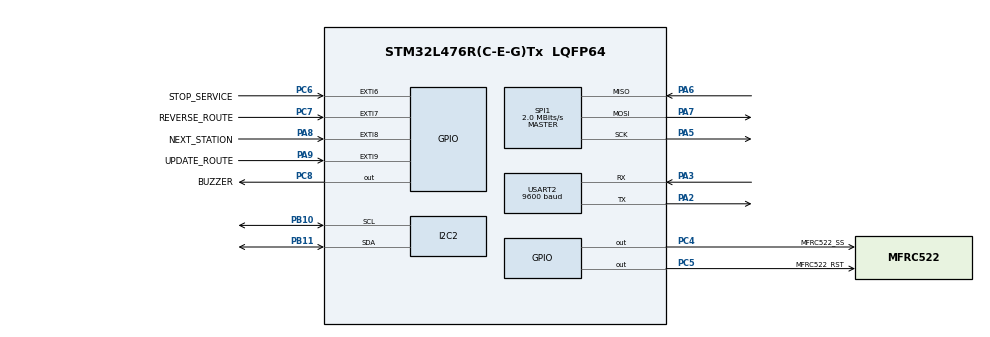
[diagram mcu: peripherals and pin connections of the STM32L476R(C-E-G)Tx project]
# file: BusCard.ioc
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Mcu.Family=STM32L4
Mcu.Name=STM32L476R(C-E-G)Tx
Mcu.Package=LQFP64
NVIC.EXTI9_5_IRQn=true\:1\:0\:true\:false\:true\:true\:true
NVIC.PriorityGroup=NVIC_PRIORITYGROUP_4
NVIC.TIM2_IRQn=true\:0\:0\:false\:false\:true\:true\:true
NVIC.USART2_IRQn=true\:0\:0\:false\:false\:true\:true\:true
PA2.Mode=Asynchronous
PA2.Signal=USART2_TX
PA3.Mode=Asynchronous
PA3.Signal=USART2_RX
PA5.Mode=Full_Duplex_Master
PA5.Signal=SPI1_SCK
PA6.Mode=Full_Duplex_Master
PA6.Signal=SPI1_MISO
PA7.Mode=Full_Duplex_Master
PA7.Signal=SPI1_MOSI
PA8.GPIO_Label=NEXT_STATION
PA8.Signal=GPXTI8
PA9.GPIO_Label=UPDATE_ROUTE
PA9.Signal=GPXTI9
PB10.Mode=I2C
PB10.Signal=I2C2_SCL
PB11.Mode=I2C
PB11.Signal=I2C2_SDA
PC4.GPIO_Label=MFRC522_SS
PC4.Signal=GPIO_Output
PC5.GPIO_Label=MFRC522_RST
PC5.Signal=GPIO_Output
PC6.GPIO_Label=STOP_SERVICE
PC6.Signal=GPXTI6
PC7.GPIO_Label=REVERSE_ROUTE
PC7.Signal=GPXTI7
PC8.GPIO_Label=BUZZER
PC8.Signal=GPIO_Output
ProjectManager.HeapSize=0x200
ProjectManager.StackSize=0x400
ProjectManager.TargetToolchain=MDK-ARM V5.27
RCC.HSE_VALUE=8000000
RCC.HSI_VALUE=16000000
RCC.LSE_VALUE=32768
RCC.MSI_VALUE=4000000
RCC.VCOOutputFreq_Value=32000000
SPI1.CalculateBaudRate=2.0 MBits/s
SPI1.DataSize=SPI_DATASIZE_8BIT
SPI1.Direction=SPI_DIRECTION_2LINES
SPI1.Mode=SPI_MODE_MASTER
SPI1.VirtualType=VM_MASTER
TIM2.Period=99
TIM2.Prescaler=3999
TIM7.Prescaler=3
USART2.BaudRate=9600
USART2.VirtualMode-Asynchronous=VM_ASYNC
VP_TIM2_VS_ClockSourceINT.Mode=Internal
VP_TIM7_VS_ClockSourceINT.Mode=Enable_Timer
board=custom

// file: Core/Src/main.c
/* USER CODE BEGIN Header */
/**
  ******************************************************************************
  * @file           : main.c
  * @brief          : Main program body
  ******************************************************************************
  * @attention
  *
  * <h2><center>&copy; Copyright (c) 2021 STMicroelectronics.
  * All rights reserved.</center></h2>
  *
  * This software component is licensed by ST under BSD 3-Clause license,
  * the "License"; You may not use this file except in compliance with the
  * License. You may obtain a copy of the License at:
  *                        opensource.org/licenses/BSD-3-Clause
  *
  ******************************************************************************
  */
/* USER CODE END Header */
#include "main.h"

/* USER CODE BEGIN Includes */
#include <stdio.h>
#include <string.h>
#include <limits.h>
#include <stdlib.h>
#include "MFRC522.h"
#include "LCD1602I2C.h"
/* USER CODE END Includes */

/* USER CODE BEGIN PTD */
#define STATION_SIZE 16
#define ROUTE_NAME_SIZE 15
#define NAME_SIZE       16
#define BLOCK_SIZE      16

// fare type
#define REGULAR 0x00
#define HALF    0x01
#define OTHER   0x02

// direction symbol in card
#define CLEAR     0x00
#define DEPARTURE '>'
#define RETURN    '<'

typedef enum{
  GETON,
  GETOFF,
  RWERROR,      //read/write PICC error
  INSUFFICIENT, //not enough money to get on
  ROUTEERROR,   //route of PICC does not conform to routeo f PCD
  WAITINITIAL,  //start initialize route
  WAITUPDATE,   //wait update route
  STOPSERVICE,  //stop PCD
  ROUTESTATION
} PrintCode;

typedef struct{   // default store in sector1
  uint8_t name[NAME_SIZE];                  // block 0 [0:15]  card user name consists of 15 character at most
  int money;                                // block 1 [0:3]   remains in PICC
  int get_on_station;                       // block 1 [5:8]   get_on_station number if -1 then did not get on
  uint8_t type;                             // block 1 [4]     regular or half fare, 0x00 regular, 0x01 half
  uint8_t padding[7];                       // block 1 [9:15]  reserved
  uint8_t direction;                        // block 2 [0]     get on departure('>') or return('>'), get off = 0x00
  uint8_t route_name[ROUTE_NAME_SIZE];      // block 2 [1:15]  route name consists of 14 character at most
} Passenger;
/* USER CODE END PTD */

I2C_HandleTypeDef hi2c2;

SPI_HandleTypeDef hspi1;

TIM_HandleTypeDef htim2;
TIM_HandleTypeDef htim7;

UART_HandleTypeDef huart2;

/* USER CODE BEGIN PV */
int *fare;              // fare[x][y] is station x -> station y fare
int *half_fare;         // half_fare[x][y] is station x -> station y half fare
int base_fare;
int base_half_fare;

uint8_t route_name[ROUTE_NAME_SIZE];    // route name consists of 9 character at most
uint8_t *route;         // each station on route uint8_t[16]
int station_n;          // how many stations on route

int now_station;        // bus now station
uint8_t direction;    // departure or return
StatusCode status;
int fare_money;         // passenger's fare

uint8_t empty_array[16] = {'\0'};
uint8_t s[50];
uint32_t n;

volatile bool update_flag;
volatile bool next_flag;
volatile bool reverse_flag;
volatile bool stop_flag;
volatile bool debounce_wait_flag;

/* USER CODE END PV */

void SystemClock_Config(void);
static void MX_GPIO_Init(void);
static void MX_SPI1_Init(void);
static void MX_USART2_UART_Init(void);
static void MX_TIM7_Init(void);
static void MX_TIM2_Init(void);
static void MX_I2C2_Init(void);
/* USER CODE BEGIN PFP */
void Delay_Us(uint16_t wait);
bool Read_Passenger(Passenger *pas, int sector);
bool Write_Passenger(Passenger *pas, int sector);
void Update_Route(void);
void Center_Align_String(char *str, int w); // center align str in w width, result is stored in global value s
void Print_Message(PrintCode code, Passenger *pas);
void Print_Passenger(Passenger *pas);
/* USER CODE END PFP */

int main(void)
{

  /* MCU Configuration--------------------------------------------------------*/

  /* Reset of all peripherals, Initializes the Flash interface and the Systick. */
  HAL_Init();

  /* Configure the system clock */
  SystemClock_Config();

  /* Initialize all configured peripherals */
  MX_GPIO_Init();
  MX_SPI1_Init();
  MX_USART2_UART_Init();
  MX_TIM7_Init();
  MX_TIM2_Init();
  MX_I2C2_Init();
  /* USER CODE BEGIN 2 */
  int store_sector = 1;
  int base_money; //how much get on money at least
  Passenger passenger;

  LCD1602I2C_Init();
	LCD1602I2C_Clear();
  PCD_Init();
  PCD_DumpVersionToSerial();

  MIFARE_Key key;
  for(int i=0;i<16;i++){
    key.keyByte[i] = 0xFF;
  }
  /* USER CODE END 2 */

  /* Infinite loop */
  /* USER CODE BEGIN WHILE */
  Print_Message(WAITINITIAL, &passenger);
  Update_Route();   //initialize route data
  stop_flag = false;
  update_flag = false;
  next_flag = false;
  reverse_flag = false;

  while (1)
  {
    if(stop_flag){
      Print_Message(STOPSERVICE, &passenger);
      while(stop_flag){
        update_flag = false;
        next_flag = false;
        reverse_flag = false;
      }
      stop_flag = false;
    }

    if(update_flag){
      update_flag = false;
      Print_Message(WAITUPDATE, &passenger);
      Update_Route();
    }
    if(next_flag){
      next_flag = false;
      if(direction == DEPARTURE){
        if(now_station+1 < station_n)
          now_station ++;
      }else if(direction == RETURN){
        if(0 <= now_station-1)
          now_station --;
      }
    }
    if(reverse_flag){
      reverse_flag = false;
      if(direction == DEPARTURE){
        direction = RETURN;
        now_station = station_n - 1;
      }else if (direction == RETURN){
        direction = DEPARTURE;
        now_station = 0;
      }
    }

    if (PICC_IsNewCardPresent()&&PICC_ReadCardSerial()) {
      HAL_GPIO_WritePin(BUZZER_GPIO_Port, BUZZER_Pin, GPIO_PIN_SET);
      HAL_Delay(200);
      HAL_GPIO_WritePin(BUZZER_GPIO_Port, BUZZER_Pin, GPIO_PIN_RESET);

      status = PCD_Authenticate(PICC_CMD_MF_AUTH_KEY_A, store_sector * 4, &key, &uid); // authenticate sector 1
      if (status != STATUS_OK) {
        GetStatusCodeName(status, s, &n);
        printf("PCD_Authenticate() failed: %s\r\n", s);
      }

      if(Read_Passenger(&passenger, store_sector)){
        Print_Passenger(&passenger);
        //deal passenger information
        if(passenger.get_on_station < 0){
          //get_on_station no data, get on
          switch(passenger.type){
            case REGULAR:
              base_money = base_fare;
              break;
            case HALF:
              base_money = base_half_fare;
              break;
            case OTHER:
              break;
          }

          if(passenger.money - base_money >= 0){ //update get on station, direction, route name to PICC
            passenger.get_on_station = now_station;
            passenger.direction = direction;
            memcpy(passenger.route_name, route_name, ROUTE_NAME_SIZE);
            if(Write_Passenger(&passenger, store_sector)){
              Print_Message(GETON, &passenger);
            }else{
              Print_Message(RWERROR, &passenger);
            }
          }else{
              Print_Message(INSUFFICIENT, &passenger);
          }
        }else{
          //direction and route of PICC is equal to PCD
          if(strcmp((char*)passenger.route_name, (char*)route_name) == 0 && passenger.direction == direction){
            if((passenger.direction == DEPARTURE && passenger.get_on_station <= now_station) ||
               (passenger.direction == RETURN && now_station <= passenger.get_on_station)){
              //fare = fare[get on][get off]
              switch(passenger.type){
                case REGULAR:
                  fare_money = fare[passenger.get_on_station * station_n + now_station];
                  break;
                case HALF:
                  fare_money = half_fare[passenger.get_on_station * station_n + now_station];
                  break;
                case OTHER:
                  break;
              }

              passenger.money -= fare_money;
              passenger.get_on_station = -1;  // -1 is not get on
              passenger.direction = CLEAR;
              memcpy(passenger.route_name, empty_array, ROUTE_NAME_SIZE); //clear route name
              if(Write_Passenger(&passenger, store_sector)){
                Print_Message(GETOFF, &passenger);
              }else{
                Print_Message(RWERROR, &passenger);
              }
              }else{  //departure: get off < get on, return get off > get on, error
              Print_Message(ROUTEERROR, &passenger);
            }
          }else{  //route of PICC does not conform to PCD route
            Print_Message(ROUTEERROR, &passenger);
          }
        }
      }else{
        Print_Message(RWERROR, &passenger);
      }
      PICC_HaltA();
      PCD_StopCrypto1();
      HAL_Delay(1300);
    }

    Print_Message(ROUTESTATION, &passenger);
    /* USER CODE END WHILE */

  }
}

void SystemClock_Config(void)
{
  RCC_OscInitTypeDef RCC_OscInitStruct = {0};
  RCC_ClkInitTypeDef RCC_ClkInitStruct = {0};
  RCC_PeriphCLKInitTypeDef PeriphClkInit = {0};

  /** Initializes the RCC Oscillators according to the specified parameters
  * in the RCC_OscInitTypeDef structure.
  */
  RCC_OscInitStruct.OscillatorType = RCC_OSCILLATORTYPE_MSI;
  RCC_OscInitStruct.MSIState = RCC_MSI_ON;
  RCC_OscInitStruct.MSICalibrationValue = 0;
  RCC_OscInitStruct.MSIClockRange = RCC_MSIRANGE_6;
  RCC_OscInitStruct.PLL.PLLState = RCC_PLL_NONE;
  if (HAL_RCC_OscConfig(&RCC_OscInitStruct) != HAL_OK)
  {
    Error_Handler();
  }
  /** Initializes the CPU, AHB and APB buses clocks
  */
  RCC_ClkInitStruct.ClockType = RCC_CLOCKTYPE_HCLK|RCC_CLOCKTYPE_SYSCLK
                              |RCC_CLOCKTYPE_PCLK1|RCC_CLOCKTYPE_PCLK2;
  RCC_ClkInitStruct.SYSCLKSource = RCC_SYSCLKSOURCE_MSI;
  RCC_ClkInitStruct.AHBCLKDivider = RCC_SYSCLK_DIV1;
  RCC_ClkInitStruct.APB1CLKDivider = RCC_HCLK_DIV1;
  RCC_ClkInitStruct.APB2CLKDivider = RCC_HCLK_DIV1;

  if (HAL_RCC_ClockConfig(&RCC_ClkInitStruct, FLASH_LATENCY_0) != HAL_OK)
  {
    Error_Handler();
  }
  PeriphClkInit.PeriphClockSelection = RCC_PERIPHCLK_USART2|RCC_PERIPHCLK_I2C2;
  PeriphClkInit.Usart2ClockSelection = RCC_USART2CLKSOURCE_PCLK1;
  PeriphClkInit.I2c2ClockSelection = RCC_I2C2CLKSOURCE_PCLK1;
  if (HAL_RCCEx_PeriphCLKConfig(&PeriphClkInit) != HAL_OK)
  {
    Error_Handler();
  }
  /** Configure the main internal regulator output voltage
  */
  if (HAL_PWREx_ControlVoltageScaling(PWR_REGULATOR_VOLTAGE_SCALE1) != HAL_OK)
  {
    Error_Handler();
  }
}

static void MX_I2C2_Init(void)
{

  hi2c2.Instance = I2C2;
  hi2c2.Init.Timing = 0x00000E14;
  hi2c2.Init.OwnAddress1 = 0;
  hi2c2.Init.AddressingMode = I2C_ADDRESSINGMODE_7BIT;
  hi2c2.Init.DualAddressMode = I2C_DUALADDRESS_DISABLE;
  hi2c2.Init.OwnAddress2 = 0;
  hi2c2.Init.OwnAddress2Masks = I2C_OA2_NOMASK;
  hi2c2.Init.GeneralCallMode = I2C_GENERALCALL_DISABLE;
  hi2c2.Init.NoStretchMode = I2C_NOSTRETCH_DISABLE;
  if (HAL_I2C_Init(&hi2c2) != HAL_OK)
  {
    Error_Handler();
  }
  /** Configure Analogue filter
  */
  if (HAL_I2CEx_ConfigAnalogFilter(&hi2c2, I2C_ANALOGFILTER_ENABLE) != HAL_OK)
  {
    Error_Handler();
  }
  /** Configure Digital filter
  */
  if (HAL_I2CEx_ConfigDigitalFilter(&hi2c2, 0) != HAL_OK)
  {
    Error_Handler();
  }

}

static void MX_SPI1_Init(void)
{

  /* SPI1 parameter configuration*/
  hspi1.Instance = SPI1;
  hspi1.Init.Mode = SPI_MODE_MASTER;
  hspi1.Init.Direction = SPI_DIRECTION_2LINES;
  hspi1.Init.DataSize = SPI_DATASIZE_8BIT;
  hspi1.Init.CLKPolarity = SPI_POLARITY_LOW;
  hspi1.Init.CLKPhase = SPI_PHASE_1EDGE;
  hspi1.Init.NSS = SPI_NSS_SOFT;
  hspi1.Init.BaudRatePrescaler = SPI_BAUDRATEPRESCALER_2;
  hspi1.Init.FirstBit = SPI_FIRSTBIT_MSB;
  hspi1.Init.TIMode = SPI_TIMODE_DISABLE;
  hspi1.Init.CRCCalculation = SPI_CRCCALCULATION_DISABLE;
  hspi1.Init.CRCPolynomial = 7;
  hspi1.Init.CRCLength = SPI_CRC_LENGTH_DATASIZE;
  hspi1.Init.NSSPMode = SPI_NSS_PULSE_ENABLE;
  if (HAL_SPI_Init(&hspi1) != HAL_OK)
  {
    Error_Handler();
  }

}

static void MX_TIM2_Init(void)
{

  TIM_ClockConfigTypeDef sClockSourceConfig = {0};
  TIM_MasterConfigTypeDef sMasterConfig = {0};

  htim2.Instance = TIM2;
  htim2.Init.Prescaler = 3999;
  htim2.Init.CounterMode = TIM_COUNTERMODE_UP;
  htim2.Init.Period = 99;
  htim2.Init.ClockDivision = TIM_CLOCKDIVISION_DIV1;
  htim2.Init.AutoReloadPreload = TIM_AUTORELOAD_PRELOAD_DISABLE;
  if (HAL_TIM_Base_Init(&htim2) != HAL_OK)
  {
    Error_Handler();
  }
  sClockSourceConfig.ClockSource = TIM_CLOCKSOURCE_INTERNAL;
  if (HAL_TIM_ConfigClockSource(&htim2, &sClockSourceConfig) != HAL_OK)
  {
    Error_Handler();
  }
  sMasterConfig.MasterOutputTrigger = TIM_TRGO_RESET;
  sMasterConfig.MasterSlaveMode = TIM_MASTERSLAVEMODE_DISABLE;
  if (HAL_TIMEx_MasterConfigSynchronization(&htim2, &sMasterConfig) != HAL_OK)
  {
    Error_Handler();
  }

}

static void MX_TIM7_Init(void)
{

  TIM_MasterConfigTypeDef sMasterConfig = {0};

  htim7.Instance = TIM7;
  htim7.Init.Prescaler = 3;
  htim7.Init.CounterMode = TIM_COUNTERMODE_UP;
  htim7.Init.Period = 65535;
  htim7.Init.AutoReloadPreload = TIM_AUTORELOAD_PRELOAD_DISABLE;
  if (HAL_TIM_Base_Init(&htim7) != HAL_OK)
  {
    Error_Handler();
  }
  sMasterConfig.MasterOutputTrigger = TIM_TRGO_RESET;
  sMasterConfig.MasterSlaveMode = TIM_MASTERSLAVEMODE_DISABLE;
  if (HAL_TIMEx_MasterConfigSynchronization(&htim7, &sMasterConfig) != HAL_OK)
  {
    Error_Handler();
  }

}

static void MX_USART2_UART_Init(void)
{

  huart2.Instance = USART2;
  huart2.Init.BaudRate = 9600;
  huart2.Init.WordLength = UART_WORDLENGTH_8B;
  huart2.Init.StopBits = UART_STOPBITS_1;
  huart2.Init.Parity = UART_PARITY_NONE;
  huart2.Init.Mode = UART_MODE_TX_RX;
  huart2.Init.HwFlowCtl = UART_HWCONTROL_NONE;
  huart2.Init.OverSampling = UART_OVERSAMPLING_16;
  huart2.Init.OneBitSampling = UART_ONE_BIT_SAMPLE_DISABLE;
  huart2.AdvancedInit.AdvFeatureInit = UART_ADVFEATURE_NO_INIT;
  if (HAL_UART_Init(&huart2) != HAL_OK)
  {
    Error_Handler();
  }

}

static void MX_GPIO_Init(void)
{
  GPIO_InitTypeDef GPIO_InitStruct = {0};

  /* GPIO Ports Clock Enable */
  __HAL_RCC_GPIOA_CLK_ENABLE();
  __HAL_RCC_GPIOC_CLK_ENABLE();
  __HAL_RCC_GPIOB_CLK_ENABLE();

  /*Configure GPIO pin Output Level */
  HAL_GPIO_WritePin(GPIOC, MFRC522_SS_Pin|MFRC522_RST_Pin|BUZZER_Pin, GPIO_PIN_RESET);

  /*Configure GPIO pins : MFRC522_SS_Pin MFRC522_RST_Pin BUZZER_Pin */
  GPIO_InitStruct.Pin = MFRC522_SS_Pin|MFRC522_RST_Pin|BUZZER_Pin;
  GPIO_InitStruct.Mode = GPIO_MODE_OUTPUT_PP;
  GPIO_InitStruct.Pull = GPIO_NOPULL;
  GPIO_InitStruct.Speed = GPIO_SPEED_FREQ_LOW;
  HAL_GPIO_Init(GPIOC, &GPIO_InitStruct);

  /*Configure GPIO pins : STOP_SERVICE_Pin REVERSE_ROUTE_Pin */
  GPIO_InitStruct.Pin = STOP_SERVICE_Pin|REVERSE_ROUTE_Pin;
  GPIO_InitStruct.Mode = GPIO_MODE_IT_RISING;
  GPIO_InitStruct.Pull = GPIO_NOPULL;
  HAL_GPIO_Init(GPIOC, &GPIO_InitStruct);

  /*Configure GPIO pins : NEXT_STATION_Pin UPDATE_ROUTE_Pin */
  GPIO_InitStruct.Pin = NEXT_STATION_Pin|UPDATE_ROUTE_Pin;
  GPIO_InitStruct.Mode = GPIO_MODE_IT_RISING;
  GPIO_InitStruct.Pull = GPIO_NOPULL;
  HAL_GPIO_Init(GPIOA, &GPIO_InitStruct);

  /* EXTI interrupt init*/
  HAL_NVIC_SetPriority(EXTI9_5_IRQn, 1, 0);
  HAL_NVIC_EnableIRQ(EXTI9_5_IRQn);

}

/* USER CODE BEGIN 4 */
bool Read_Passenger(Passenger *pas, int sector){
  uint8_t size = 18;
  uint8_t buffer[size];
  uint8_t *p = (uint8_t *)pas;

  status = MIFARE_Read(sector * 4 + 0, buffer, &size);
  if (status != STATUS_OK) {
    GetStatusCodeName(status, s, &n);
    printf("read name failed: %s\r\n", s);
    return false;
  }
  memcpy(p, buffer, 16);

  status = MIFARE_Read(sector * 4 + 1, buffer, &size);
  if (status != STATUS_OK) {
    GetStatusCodeName(status, s, &n);
    printf("read card information failed: %s\r\n", s);
    return false;
  }
  memcpy(p+16, buffer, 16);

  status = MIFARE_Read(sector * 4 + 2, buffer, &size);
  if (status != STATUS_OK) {
    GetStatusCodeName(status, s, &n);
    printf("read route name failed: %s\r\n", s);
    return false;
  }
  memcpy(p+16, buffer, 16);

  return true;
}
bool Write_Passenger(Passenger *pas, int sector){
  uint8_t size = 16;
  uint8_t *p = (uint8_t *)pas;

  status = MIFARE_Write(sector * 4 + 0, p, size);
  if (status != STATUS_OK) {
    GetStatusCodeName(status, s, &n);
    printf("write name failed: %s\r\n", s);
    return false;
  }

  status = MIFARE_Write(sector * 4 + 1, p+16, size);
  if (status != STATUS_OK) {
    GetStatusCodeName(status, s, &n);
    printf("write card infromation failed: %s\r\n", s);
    return false;
  }

  status = MIFARE_Write(sector * 4 + 2, p+32, size);
  if (status != STATUS_OK) {
    GetStatusCodeName(status, s, &n);
    printf("write route name failed: %s\r\n", s);
    return false;
  }

  return true;
}

void Delay_Us(uint16_t wait){
  HAL_TIM_Base_Start(&htim7);
  __HAL_TIM_SET_COUNTER(&htim7, 0);  // set the counter value a 0
  while(__HAL_TIM_GET_COUNTER(&htim7) < wait);
  HAL_TIM_Base_Stop(&htim7);
}

void Center_Align_String(char *str, int w){
  sprintf((char*)s, "%*s%*s",
          (w + strlen(str)) / 2,
          str,
          w - ((w + strlen(str)) / 2),
          ""
         );
}

void Print_Message(PrintCode code, Passenger *pas){
  switch(code){
    case GETON:
      LCD1602I2C_Cursor(0, 0);
      Center_Align_String("Get On Station", 16);
      LCD1602I2C_SendString((char*)s);
      LCD1602I2C_Cursor(1, 0);
      sprintf((char*)s, "balance %-8d", pas->money);
      LCD1602I2C_SendString((char*)s);
      break;
    case GETOFF:
      LCD1602I2C_Cursor(0, 0);
      sprintf((char*)s, "Fare     Balance");
      LCD1602I2C_SendString((char*)s);
      LCD1602I2C_Cursor(1, 0);
      sprintf((char*)s, "%-8d%8d", fare_money, pas->money);
      LCD1602I2C_SendString((char*)s);
      break;
    case RWERROR:
      LCD1602I2C_Cursor(0, 0);
      Center_Align_String((char*)"Card Error", 16);
      LCD1602I2C_SendString((char*)s);
      LCD1602I2C_Cursor(1, 0);
      Center_Align_String((char*)"Please Try Again", 16);
      LCD1602I2C_SendString((char*)s);
      break;
    case INSUFFICIENT:
      LCD1602I2C_Cursor(0, 0);
      sprintf((char*)s, "Not Enough Money");
      LCD1602I2C_SendString((char*)s);
      LCD1602I2C_Cursor(1, 0);
      sprintf((char*)s, "balance %-8d", pas->money);
      LCD1602I2C_SendString((char*)s);
      break;
    case ROUTEERROR:
      LCD1602I2C_Cursor(0, 0);
      Center_Align_String("Error Route", 16);
      LCD1602I2C_SendString((char*)s);
      LCD1602I2C_Cursor(1, 0);
      Center_Align_String("Can't Get Off", 16);
      LCD1602I2C_SendString((char*)s);
      break;
    case WAITUPDATE:
      LCD1602I2C_Cursor(0, 0);
      Center_Align_String("Update Route", 16);
      LCD1602I2C_SendString((char*)s);
      LCD1602I2C_Cursor(1, 0);
      Center_Align_String("", 16);
      LCD1602I2C_SendString((char*)s);
      break;
    case STOPSERVICE:
      LCD1602I2C_Cursor(0, 0);
      Center_Align_String("Stop Service", 16);
      LCD1602I2C_SendString((char*)s);
      LCD1602I2C_Cursor(1, 0);
      Center_Align_String("", 16);
      LCD1602I2C_SendString((char*)s);
      break;
    case WAITINITIAL:
      LCD1602I2C_Cursor(0, 0);
      Center_Align_String("Please", 16);
      LCD1602I2C_SendString((char*)s);
      LCD1602I2C_Cursor(1, 0);
      Center_Align_String("Initialize Route", 16);
      LCD1602I2C_SendString((char*)s);
      break;
    case ROUTESTATION:
      LCD1602I2C_Cursor(0, 0);
      Center_Align_String((char*)route_name, ROUTE_NAME_SIZE);
      sprintf((char*)s, "%s%c", (char*)s, direction);
      LCD1602I2C_SendString((char*)s);
      LCD1602I2C_Cursor(1, 0);
      Center_Align_String((char*)&route[now_station*STATION_SIZE], STATION_SIZE);
      LCD1602I2C_SendString((char*)s);
  }

}

void Print_Passenger(Passenger *pas){
  printf("name:       %s\r\n",   pas->name);
  printf("money:      %d\r\n",   pas->money);
  printf("type:       %02X\r\n", pas->type);
  printf("get on:     %d\r\n",   pas->get_on_station);
  printf("direction:  %02X\r\n", pas->get_on_station);
  printf("route name: %s\r\n",   pas->route_name);
}

void Update_Route(void){
  direction = DEPARTURE;
  now_station = 0;

  HAL_UART_Receive(&huart2, s, 4, HAL_MAX_DELAY); //receive int how many station on route to update
  station_n = (uint32_t)s[0] << 24 | (uint32_t)s[1] << 16 | (uint32_t)s[2] << 8 | (uint32_t)s[3]; // consist of 4 bytes 0~3, 0 bytes is MSB.
  HAL_UART_Transmit(&huart2, s, 4, HAL_MAX_DELAY); //send echo

  HAL_UART_Receive(&huart2, route_name, ROUTE_NAME_SIZE, HAL_MAX_DELAY);  //receive route name
  HAL_UART_Transmit(&huart2, route_name, ROUTE_NAME_SIZE, HAL_MAX_DELAY); //send echo

  //start receive new route
  free(route);
  route = (uint8_t*)malloc(station_n * STATION_SIZE * sizeof(uint8_t)); //reallocate route memory
  for(int i=0; i<station_n; i++){
    HAL_UART_Receive(&huart2, &route[i*STATION_SIZE], STATION_SIZE, HAL_MAX_DELAY);  //receive station string
    HAL_UART_Transmit(&huart2, &route[i*STATION_SIZE], STATION_SIZE, HAL_MAX_DELAY); //send echo
  }
  //end receive new route

  //start receive new fare
  HAL_UART_Receive(&huart2, s, 4, HAL_MAX_DELAY); //receive base fare
  base_fare = (uint32_t)s[0] << 24 | (uint32_t)s[1] << 16 | (uint32_t)s[2] << 8 | (uint32_t)s[3]; // consist of 4 bytes 0~3, 0 bytes is MSB.
  HAL_UART_Transmit(&huart2, s, 4, HAL_MAX_DELAY); //send echo

  free(fare);
  fare = (int*)malloc(station_n * station_n * sizeof(int)); //reallocate fare memory
  for(int i=0;i<station_n;i++){
    for(int j=0;j<station_n;j++){
      HAL_UART_Receive(&huart2, s, 4, HAL_MAX_DELAY);  //receive fare number(int type 4 bytes) to s buffer
      // decode buffer to int value, consist of 4 bytes 0~3, 0 bytes is MSB.
      fare[i*station_n+j] = (uint32_t)s[0] << 24 | (uint32_t)s[1] << 16 | (uint32_t)s[2] << 8 | (uint32_t)s[3];
      HAL_UART_Transmit(&huart2, s, 4, HAL_MAX_DELAY); //send echo
    }
  }
  //end receive new fare

  HAL_UART_Receive(&huart2, s, 4, HAL_MAX_DELAY); //receive base half fare
  base_half_fare = (uint32_t)s[0] << 24 | (uint32_t)s[1] << 16 | (uint32_t)s[2] << 8 | (uint32_t)s[3]; // consist of 4 bytes 0~3, 0 bytes is MSB.
  HAL_UART_Transmit(&huart2, s, 4, HAL_MAX_DELAY); //send echo
  //start receive new half fare
  free(half_fare);
  half_fare = (int*)malloc(station_n * station_n * sizeof(int)); //reallocate half fare memory
  for(int i=0;i<station_n;i++){
    for(int j=0;j<station_n;j++){
      HAL_UART_Receive(&huart2, s, 4, HAL_MAX_DELAY);  //receive half fare number(int type 4 bytes) to s buffer
      // decode buffer to int value, consist of 4 bytes 0~3, 0 bytes is MSB.
      half_fare[i*station_n+j] = (uint32_t)s[0] << 24 | (uint32_t)s[1] << 16 | (uint32_t)s[2] << 8 | (uint32_t)s[3];
      HAL_UART_Transmit(&huart2, s, 4, HAL_MAX_DELAY); //send echo
    }
  }
  //end receive new fare
}

void HAL_TIM_PeriodElapsedCallback(TIM_HandleTypeDef* htim){  // timer2 preemption priority 0
  if(htim == &htim2)
    debounce_wait_flag = false;
}

void HAL_GPIO_EXTI_Callback(uint16_t GPIO_Pin){  // button exti preemption priority 1, lower timer2 so that timer2 can preempt
  debounce_wait_flag = true;

  __HAL_TIM_SetCounter(&htim2, 0);
  HAL_TIM_Base_Start_IT(&htim2);
  while(debounce_wait_flag){} // wait 100 milliseconds
  HAL_TIM_Base_Stop_IT(&htim2);

  if(GPIO_Pin == UPDATE_ROUTE_Pin){
    if(HAL_GPIO_ReadPin(UPDATE_ROUTE_GPIO_Port, UPDATE_ROUTE_Pin) == GPIO_PIN_RESET)
      return;
    update_flag = true;
  }else if(GPIO_Pin == NEXT_STATION_Pin){
    if(HAL_GPIO_ReadPin(NEXT_STATION_GPIO_Port, NEXT_STATION_Pin) == GPIO_PIN_RESET)
      return;
    next_flag = true;
  }else if(GPIO_Pin == REVERSE_ROUTE_Pin){
    if(HAL_GPIO_ReadPin(REVERSE_ROUTE_GPIO_Port, REVERSE_ROUTE_Pin) == GPIO_PIN_RESET)
      return;
    reverse_flag = true;
  }else if(GPIO_Pin == STOP_SERVICE_Pin){
    if(HAL_GPIO_ReadPin(STOP_SERVICE_GPIO_Port, STOP_SERVICE_Pin) == GPIO_PIN_RESET)
      return;
    stop_flag = !stop_flag;
  }
}
/* USER CODE END 4 */

void Error_Handler(void)
{
  __disable_irq();
  while (1)
  {
  }
}

/************************ (C) COPYRIGHT STMicroelectronics *****END OF FILE****/
